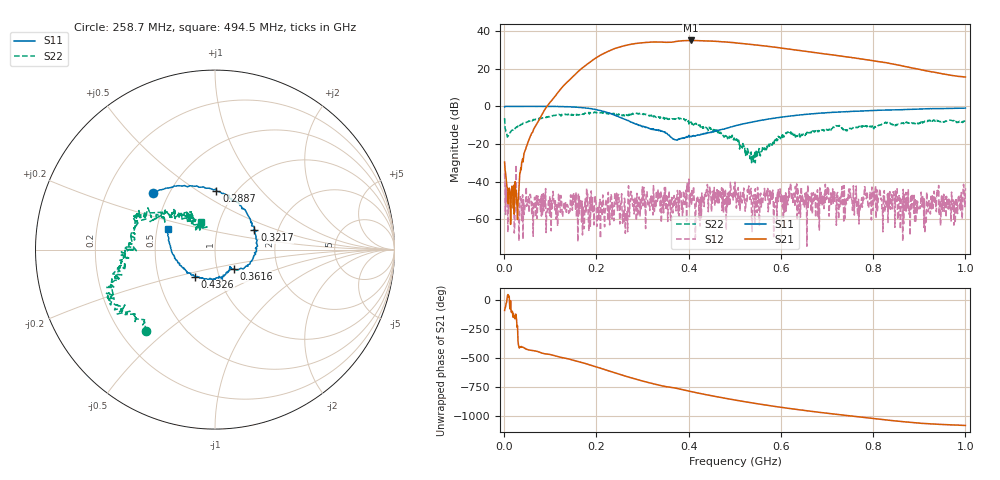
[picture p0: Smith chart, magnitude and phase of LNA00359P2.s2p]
! Created with skrf 1.9.0 (http://scikit-rf.org).
# Hz S RI R 50.0
!freq ReS11 ImS11 ReS21 ImS21 ReS12 ImS12 ReS22 ImS22
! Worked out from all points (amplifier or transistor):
!   1001 points, 1 MHz to 1 GHz, reference 50 ohm
!   highest |S21| = 35.0 dB at 404.6 MHz (marker M1)
!   |S21| within 3 dB of that: 256.9 MHz to 568 MHz (311.1 MHz wide, 75.4 % of centre)
!   unconditionally stable (mu >= 1): 239.9 MHz to 299.3 MHz; 302.9 MHz to 396.6 MHz; 400.7 MHz to end of sweep (the widest 3 of 37)
!   at 166.8 MHz: K = 0.96, MSG = 35.4 dB, |S12| = -51.0 dB
!   at 500.5 MHz: K = 1.19, MAG = 34.4 dB, |S12| = -40.3 dB
!   at 1 GHz: K = 1.87, MAG = 24.1 dB, |S12| = -43.4 dB
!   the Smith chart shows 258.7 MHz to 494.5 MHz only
!   S11 on the Smith chart (normalised r, x): 258.7 MHz: 0.41, +0.33; 288.7 MHz: 0.82, +0.60; 321.7 MHz: 1.51, +0.36; 361.6 MHz: 1.20, -0.26; 432.6 MHz: 0.77, -0.25; 494.5 MHz: 0.57, +0.14
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1000000  0.9674 0.0141  0.00105 -0.0331  -0.00563 0.0157  0.4027 0.2749
1.08892e8  0.5029 -0.8589  -0.8338 -1.56  -0.00172 0.00161  0.4492 -0.3582
1.67833e8  -0.2682 -0.8863  -10.1 -0.4605  0.000429 -0.00074  0.0584 -0.6271
2.14786e8  -0.6897 -0.2574  -14.35 20.32  -0.00108 -0.00282  -0.1787 -0.6311
2.39761e8  -0.5616 0.1306  -1.908 34.32  0.00298 -0.00405  -0.2947 -0.5606
2.58742e8  -0.3456 0.3138  13.93 37.74  -0.000545 0.0017  -0.3858 -0.4557
2.88712e8  0.00743 0.326  38.95 27.13  -0.00255 -0.000624  -0.5849 -0.2749
3.21679e8  0.2201 0.1108  51.1 -0.105  0.0029 0.00314  -0.5193 -0.1411
3.34666e8  0.2254 0.00695  50.04 -11.08  0.00326 0.000883  -0.5247 -0.0766
3.61639e8  0.104 -0.1079  42.36 -27.07  -0.000228 0.000902  -0.4687 0.0994
3.8062e8  0.0821 -0.1116  37.2 -40.04  0.00253 0.00515  -0.4359 0.1978
4.04596e8  0.0207 -0.1581  20.53 -52.34  -0.00256 0.00422  -0.3286 0.1763
4.32568e8  -0.1105 -0.1547  -1.618 -55.06  -0.00195 0.00332  -0.1863 0.1926
4.63537e8  -0.2247 -0.0426  -22.67 -47.8  0.00331 -0.000846  -0.1129 0.1643
4.94506e8  -0.2635 0.1166  -36.89 -33.12  0.00144 0.00373  -0.0803 0.1518
5.005e8  -0.2603 0.1552  -38.75 -29.94  0.00831 -0.005  -0.088 0.082
5.39461e8  -0.1797 0.3425  -42.61 -8.992  0.00381 -0.00164  -0.0504 0.00897
5.86414e8  0.0233 0.4868  -35.75 10.9  0.00189 -0.000764  -0.1064 -0.0678
6.67333e8  0.4052 0.4847  -13.41 23.75  0.000305 -0.00226  -0.1975 -0.0563
7.53247e8  0.6807 0.2733  3.763 19.41  0.00184 -0.00308  -0.2524 -0.00143
8.34166e8  0.8008 0.00707  10.19 9.539  0.00114 0.00137  -0.3573 0.0129
1e9  0.721 -0.5373  6.019 -0.1916  -0.00615 0.00276  -0.2432 0.2977
